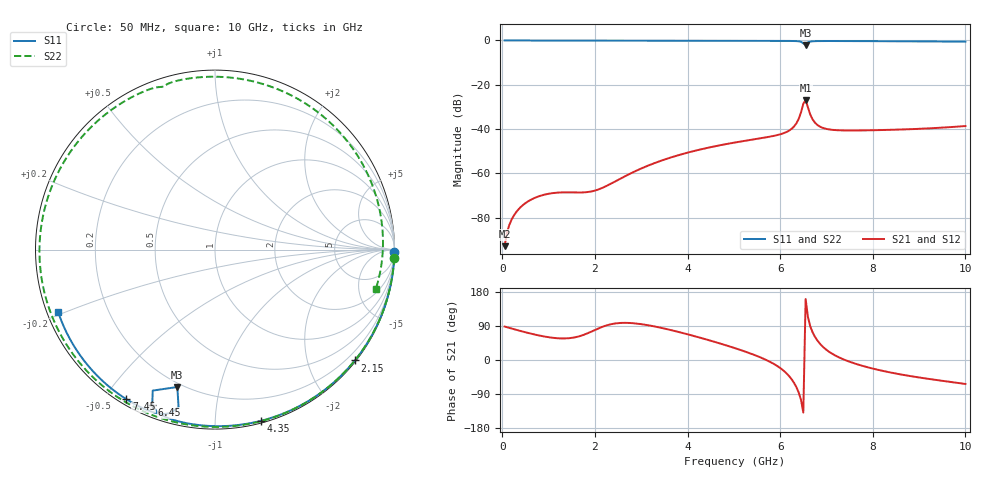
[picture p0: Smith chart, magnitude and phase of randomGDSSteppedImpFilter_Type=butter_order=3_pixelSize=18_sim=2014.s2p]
! freq	dB(S11)	phase(S11)	dB(S12)	phase(S12)
!  dB(S21)	phase(S21)	dB(S22)	phase(S22)
!S-par simulation data
#  GHz  S  DB  R 50
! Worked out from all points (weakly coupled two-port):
!   200 points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, 50 MHz to 10 GHz, reference 50 ohm
!   highest |S21| = -26.81 dB at 6.55 GHz (marker M1); lowest = -92.8 dB at 50 MHz (marker M2)
!   lowest |S11| = -2.0 dB at 6.55 GHz (marker M3), VSWR 8.70, Z = 9.02 - j37.3 ohm
!   |S11| at or under -10 dB: nowhere
!   |S22| runs from -0.7 to 0.0 dB; largest |S21 - S12| = 0
!   S11 on the Smith chart (normalised r, x): 50 MHz: open; 2.15 GHz: 0.03, -2.87; 4.35 GHz: 0.02, -1.30; 6.45 GHz: 0.05, -0.67; 7.45 GHz: 0.02, -0.57; 10 GHz: 0.03, -0.19
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0.05  -0.00 -0.9  -92.81 88.3  -92.81 88.3  -0.00 -2.6
0.2  -0.00 -3.7  -80.86 83.1  -80.86 83.1  -0.01 -10.4
0.45  -0.01 -8.2  -74.20 74.7  -74.20 74.7  -0.03 -23.3
0.8  -0.02 -14.5  -70.23 64.5  -70.23 64.5  -0.05 -40.9
1.25  -0.03 -22.6  -68.58 57.0  -68.58 57.0  -0.08 -62.7
1.75  -0.04 -31.4  -68.57 66.0  -68.57 66.0  -0.10 -85.4
2.15  -0.05 -38.4  -66.61 87.1  -66.61 87.1  -0.11 -102.3
3.4  -0.08 -59.6  -54.47 85.7  -54.47 85.7  -0.16 -149.3
4.35  -0.11 -75.1  -48.83 56.2  -48.83 56.2  -0.19 178.7
5.05  -0.13 -86.1  -45.94 30.3  -45.94 30.3  -0.23 156.0
6.15  -0.20 -103.8  -41.18 -36.8  -41.18 -36.8  -0.28 120.3
6.35  -0.29 -108.2  -37.40 -71.4  -37.40 -71.4  -0.30 113.6
6.45  -0.60 -112.0  -32.49 -105.1  -32.49 -105.1  -0.34 110.1
6.5  -1.32 -113.8  -28.54 -138.8  -28.54 -138.8  -0.39 108.4
6.55  -2.01 -105.3  -26.81 160.8  -26.81 160.8  -0.43 107.5
6.6  -0.90 -103.0  -30.20 113.5  -30.20 113.5  -0.35 106.0
6.7  -0.37 -107.1  -35.58 73.2  -35.58 73.2  -0.32 102.4
6.95  -0.26 -112.7  -39.64 31.8  -39.64 31.8  -0.32 93.9
7.45  -0.27 -120.6  -40.63 -2.3  -40.63 -2.3  -0.35 76.8
8.35  -0.35 -133.9  -40.34 -32.2  -40.34 -32.2  -0.40 45.7
9.2  -0.44 -146.3  -39.68 -49.8  -39.68 -49.8  -0.50 15.7
10  -0.53 -158.4  -38.62 -63.3  -38.62 -63.3  -0.70 -13.7
